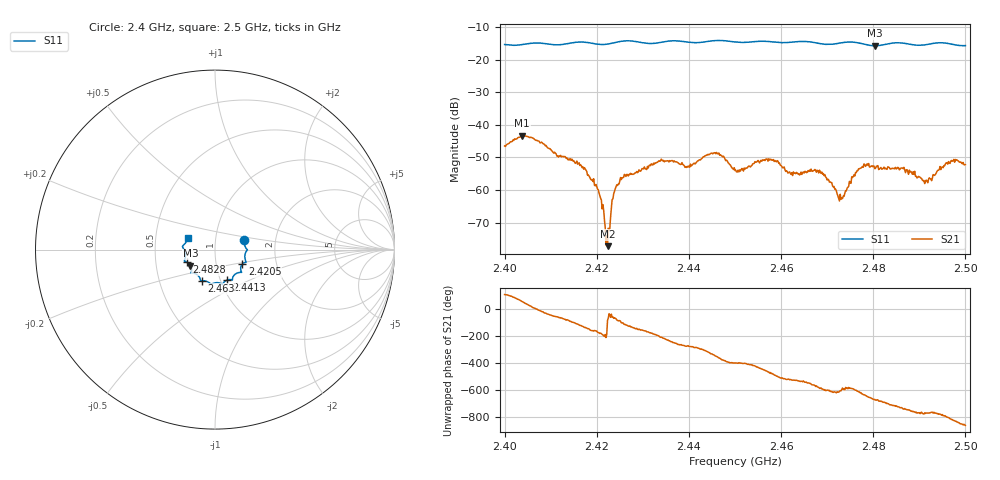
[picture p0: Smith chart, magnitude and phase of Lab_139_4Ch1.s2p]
# Hz S RI R 50
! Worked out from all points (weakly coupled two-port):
!   601 points, 2.4 GHz to 2.5 GHz, reference 50 ohm
!   highest |S21| = -43.29 dB at 2.4038 GHz (marker M1); lowest = -77.2 dB at 2.4223 GHz (marker M2)
!   lowest |S11| = -15.7 dB at 2.4803 GHz (marker M3), VSWR 1.39, Z = 37.4 - j6.84 ohm
!   |S11| at or under -10 dB: start of sweep to end of sweep
!   S12 and S22 are empty: the file has one direction only
!   S11 on the Smith chart (normalised r, x): 2.4 GHz: 1.38, +0.15; 2.4205 GHz: 1.34, -0.22; 2.4413 GHz: 1.08, -0.38; 2.463 GHz: 0.82, -0.29; 2.4828 GHz: 0.72, -0.10; 2.5 GHz: 0.73, +0.10
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2.4e9  0.1629 0.0525  -0.00147 0.00452  0 0  0 0
2.403833e9  0.1706 0.0112  0.00386 0.00566  0 0  0 0
2.416667e9  0.1735 -0.0698  -0.00129 -0.00197  0 0  0 0
2.4205e9  0.152 -0.081  -0.000893 -6.09e-05  0 0  0 0
2.422333e9  0.1437 -0.0977  1.56e-05 -0.000137  0 0  0 0
2.423833e9  0.1437 -0.1131  0.000423 -0.000856  0 0  0 0
2.4255e9  0.1474 -0.124  -0.000326 -0.00152  0 0  0 0
2.433333e9  0.1004 -0.1515  -0.00262 0.000794  0 0  0 0
2.441333e9  0.0678 -0.1696  0.000647 0.00243  0 0  0 0
2.446e9  0.0418 -0.1926  0.00374 0.000531  0 0  0 0
2.45e9  0.0247 -0.1857  0.00155 -0.00125  0 0  0 0
2.457833e9  -0.0298 -0.1865  -0.00136 -0.00262  0 0  0 0
2.463e9  -0.0719 -0.1737  -0.00177 -0.00043  0 0  0 0
2.466667e9  -0.0815 -0.1674  -0.00183 0.000695  0 0  0 0
2.473e9  -0.1262 -0.13  -0.000294 0.000659  0 0  0 0
2.476667e9  -0.1319 -0.1253  -0.000719 0.00186  0 0  0 0
2.480333e9  -0.1372 -0.089  0.00136 0.00164  0 0  0 0
2.482833e9  -0.1585 -0.0701  0.00198 0.000728  0 0  0 0
2.483333e9  -0.1624 -0.0683  0.00214 0.000676  0 0  0 0
2.491333e9  -0.1696 -0.0056  0.000822 -0.00111  0 0  0 0
2.496833e9  -0.1722 0.0279  -0.000237 -0.00278  0 0  0 0
2.5e9  -0.1519 0.064  -0.00196 -0.00149  0 0  0 0
